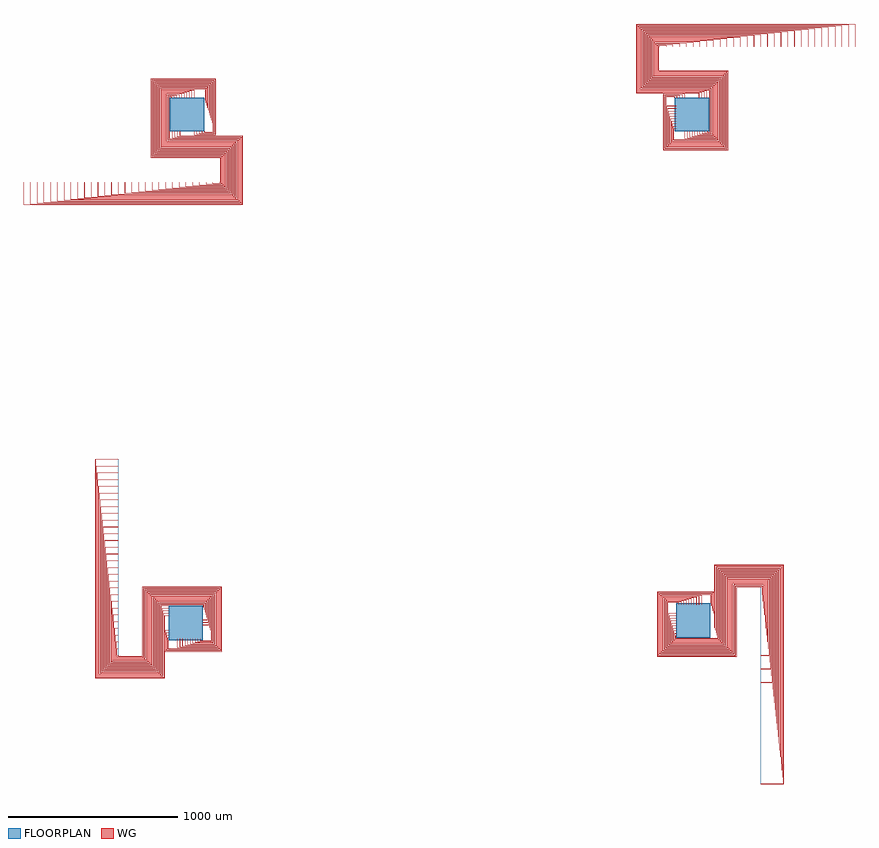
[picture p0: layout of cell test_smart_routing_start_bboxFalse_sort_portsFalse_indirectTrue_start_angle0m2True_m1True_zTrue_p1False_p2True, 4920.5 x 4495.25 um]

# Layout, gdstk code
import gdstk
lib = gdstk.Library(unit=1e-6, precision=1e-09)
def R(c, l, rs):  # rectangles x0, y0, x1, y1
    for r in rs: c.add(gdstk.rectangle(r[:2], r[2:], *l))
def P(c, l, *ps):  # polygons
    for p in ps: c.add(gdstk.Polygon(p, *l))
WG = (1, 0)
FLOORPLAN = (10, 0)

test_smart_routing_start = lib.new_cell('test_smart_routing_start_bboxFalse_sort_portsFalse_indirectTrue_start_angle0m2True_m1True_zTrue_p1False_p2True')
P(test_smart_routing_start, WG, [(2822.25,2787.5),(2822.25,3122.5),(2950.25,3122.5),(2950.25,3100),(2949.75,3100),(2949.75,3122),(2822.75,3122),(2822.75,2788),(3207.25,2788),(3207.25,3257),(2795.25,3257),(2795.25,3404.5),(2800.25,3404.5),(2800.25,3400),(2799.75,3400),(2799.75,3404),(2795.75,3404),(2795.75,3257.5),(3207.75,3257.5),(3207.75,2787.5)],
  [(2826.75,2792),(2826.75,3118),(2935.25,3118),(2935.25,3100),(2934.75,3100),(2934.75,3117.5),(2827.25,3117.5),(2827.25,2792.5),(3202.75,2792.5),(3202.75,3252.5),(2790.75,3252.5),(2790.75,3409),(2840.25,3409),(2840.25,3400),(2839.75,3400),(2839.75,3408.5),(2791.25,3408.5),(2791.25,3253),(3203.25,3253),(3203.25,2792)],
  [(2831.25,2796.5),(2831.25,3113.5),(2920.25,3113.5),(2920.25,3100),(2919.75,3100),(2919.75,3113),(2831.75,3113),(2831.75,2797),(3198.25,2797),(3198.25,3248),(2786.25,3248),(2786.25,3413.5),(2880.25,3413.5),(2880.25,3400),(2879.75,3400),(2879.75,3413),(2786.75,3413),(2786.75,3248.5),(3198.75,3248.5),(3198.75,2796.5)],
  [(2835.75,2801),(2835.75,3109),(2905.25,3109),(2905.25,3100),(2904.75,3100),(2904.75,3108.5),(2836.25,3108.5),(2836.25,2801.5),(3193.75,2801.5),(3193.75,3243.5),(2781.75,3243.5),(2781.75,3418),(2920.25,3418),(2920.25,3400),(2919.75,3400),(2919.75,3417.5),(2782.25,3417.5),(2782.25,3244),(3194.25,3244),(3194.25,2801)],
  [(2840.25,2805.5),(2840.25,3104.5),(2890.25,3104.5),(2890.25,3100),(2889.75,3100),(2889.75,3104),(2840.75,3104),(2840.75,2806),(3189.25,2806),(3189.25,3239),(2777.25,3239),(2777.25,3422.5),(2960.25,3422.5),(2960.25,3400),(2959.75,3400),(2959.75,3422),(2777.75,3422),(2777.75,3239.5),(3189.75,3239.5),(3189.75,2805.5)],
  [(2844.75,2810),(2844.75,3050.25),(2900,3050.25),(2900,3049.75),(2845.25,3049.75),(2845.25,2810.5),(3184.75,2810.5),(3184.75,3234.5),(2772.75,3234.5),(2772.75,3427),(3000.25,3427),(3000.25,3400),(2999.75,3400),(2999.75,3426.5),(2773.25,3426.5),(2773.25,3235),(3185.25,3235),(3185.25,2810)],
  [(2849.25,2814.5),(2849.25,3035.25),(2900,3035.25),(2900,3034.75),(2849.75,3034.75),(2849.75,2815),(3180.25,2815),(3180.25,3230),(2768.25,3230),(2768.25,3431.5),(3040.25,3431.5),(3040.25,3400),(3039.75,3400),(3039.75,3431),(2768.75,3431),(2768.75,3230.5),(3180.75,3230.5),(3180.75,2814.5)],
  [(2853.75,2819),(2853.75,3020.25),(2900,3020.25),(2900,3019.75),(2854.25,3019.75),(2854.25,2819.5),(3175.75,2819.5),(3175.75,3225.5),(2763.75,3225.5),(2763.75,3436),(3080.25,3436),(3080.25,3400),(3079.75,3400),(3079.75,3435.5),(2764.25,3435.5),(2764.25,3226),(3176.25,3226),(3176.25,2819)],
  [(2858.25,2823.5),(2858.25,3005.25),(2900,3005.25),(2900,3004.75),(2858.75,3004.75),(2858.75,2824),(3171.25,2824),(3171.25,3221),(2759.25,3221),(2759.25,3440.5),(3120.25,3440.5),(3120.25,3400),(3119.75,3400),(3119.75,3440),(2759.75,3440),(2759.75,3221.5),(3171.75,3221.5),(3171.75,2823.5)],
  [(2862.75,2828),(2862.75,2990.25),(2900,2990.25),(2900,2989.75),(2863.25,2989.75),(2863.25,2828.5),(3166.75,2828.5),(3166.75,3216.5),(2754.75,3216.5),(2754.75,3445),(3160.25,3445),(3160.25,3400),(3159.75,3400),(3159.75,3444.5),(2755.25,3444.5),(2755.25,3217),(3167.25,3217),(3167.25,2828)],
  [(2867.25,2832.5),(2867.25,2975.25),(2900,2975.25),(2900,2974.75),(2867.75,2974.75),(2867.75,2833),(3162.25,2833),(3162.25,3212),(2750.25,3212),(2750.25,3449.5),(3200.25,3449.5),(3200.25,3400),(3199.75,3400),(3199.75,3449),(2750.75,3449),(2750.75,3212.5),(3162.75,3212.5),(3162.75,2832.5)],
  [(2871.75,2837),(2871.75,2960.25),(2900,2960.25),(2900,2959.75),(2872.25,2959.75),(2872.25,2837.5),(3157.75,2837.5),(3157.75,3207.5),(2745.75,3207.5),(2745.75,3454),(3240.25,3454),(3240.25,3400),(3239.75,3400),(3239.75,3453.5),(2746.25,3453.5),(2746.25,3208),(3158.25,3208),(3158.25,2837)],
  [(2876.25,2841.5),(2876.25,2945.25),(2900,2945.25),(2900,2944.75),(2876.75,2944.75),(2876.75,2842),(3153.25,2842),(3153.25,3203),(2741.25,3203),(2741.25,3458.5),(3280.25,3458.5),(3280.25,3400),(3279.75,3400),(3279.75,3458),(2741.75,3458),(2741.75,3203.5),(3153.75,3203.5),(3153.75,2841.5)],
  [(2880.75,2846),(2880.75,2930.25),(2900,2930.25),(2900,2929.75),(2881.25,2929.75),(2881.25,2846.5),(3148.75,2846.5),(3148.75,3198.5),(2736.75,3198.5),(2736.75,3463),(3320.25,3463),(3320.25,3400),(3319.75,3400),(3319.75,3462.5),(2737.25,3462.5),(2737.25,3199),(3149.25,3199),(3149.25,2846)],
  [(2885.25,2850.5),(2885.25,2915.25),(2900,2915.25),(2900,2914.75),(2885.75,2914.75),(2885.75,2851),(3144.25,2851),(3144.25,3194),(2732.25,3194),(2732.25,3467.5),(3360.25,3467.5),(3360.25,3400),(3359.75,3400),(3359.75,3467),(2732.75,3467),(2732.75,3194.5),(3144.75,3194.5),(3144.75,2850.5)],
  [(2949.75,2855),(2949.75,2900),(2950.25,2900),(2950.25,2855.5),(3139.75,2855.5),(3139.75,3189.5),(2727.75,3189.5),(2727.75,3472),(3400.25,3472),(3400.25,3400),(3399.75,3400),(3399.75,3471.5),(2728.25,3471.5),(2728.25,3190),(3140.25,3190),(3140.25,2855)],
  [(2964.75,2859.5),(2964.75,2900),(2965.25,2900),(2965.25,2860),(3135.25,2860),(3135.25,3185),(2723.25,3185),(2723.25,3476.5),(3440.25,3476.5),(3440.25,3400),(3439.75,3400),(3439.75,3476),(2723.75,3476),(2723.75,3185.5),(3135.75,3185.5),(3135.75,2859.5)],
  [(2979.75,2864),(2979.75,2900),(2980.25,2900),(2980.25,2864.5),(3130.75,2864.5),(3130.75,3180.5),(2718.75,3180.5),(2718.75,3481),(3480.25,3481),(3480.25,3400),(3479.75,3400),(3479.75,3480.5),(2719.25,3480.5),(2719.25,3181),(3131.25,3181),(3131.25,2864)],
  [(2994.75,2868.5),(2994.75,2900),(2995.25,2900),(2995.25,2869),(3126.25,2869),(3126.25,3176),(2714.25,3176),(2714.25,3485.5),(3520.25,3485.5),(3520.25,3400),(3519.75,3400),(3519.75,3485),(2714.75,3485),(2714.75,3176.5),(3126.75,3176.5),(3126.75,2868.5)],
  [(3009.75,2873),(3009.75,2900),(3010.25,2900),(3010.25,2873.5),(3121.75,2873.5),(3121.75,3171.5),(2709.75,3171.5),(2709.75,3490),(3560.25,3490),(3560.25,3400),(3559.75,3400),(3559.75,3489.5),(2710.25,3489.5),(2710.25,3172),(3122.25,3172),(3122.25,2873)],
  [(3024.75,2877.5),(3024.75,2900),(3025.25,2900),(3025.25,2878),(3117.25,2878),(3117.25,3167),(2705.25,3167),(2705.25,3494.5),(3600.25,3494.5),(3600.25,3400),(3599.75,3400),(3599.75,3494),(2705.75,3494),(2705.75,3167.5),(3117.75,3167.5),(3117.75,2877.5)],
  [(3039.75,2882),(3039.75,2900),(3040.25,2900),(3040.25,2882.5),(3112.75,2882.5),(3112.75,3162.5),(2700.75,3162.5),(2700.75,3499),(3640.25,3499),(3640.25,3400),(3639.75,3400),(3639.75,3498.5),(2701.25,3498.5),(2701.25,3163),(3113.25,3163),(3113.25,2882)],
  [(3054.75,2886.5),(3054.75,2900),(3055.25,2900),(3055.25,2887),(3108.25,2887),(3108.25,3158),(2696.25,3158),(2696.25,3503.5),(3680.25,3503.5),(3680.25,3400),(3679.75,3400),(3679.75,3503),(2696.75,3503),(2696.75,3158.5),(3108.75,3158.5),(3108.75,2886.5)],
  [(3069.75,2891),(3069.75,2900),(3070.25,2900),(3070.25,2891.5),(3103.75,2891.5),(3103.75,3153.5),(2691.75,3153.5),(2691.75,3508),(3720.25,3508),(3720.25,3400),(3719.75,3400),(3719.75,3507.5),(2692.25,3507.5),(2692.25,3154),(3104.25,3154),(3104.25,2891)],
  [(3084.75,2895.5),(3084.75,2900),(3085.25,2900),(3085.25,2896),(3099.25,2896),(3099.25,3149),(2687.25,3149),(2687.25,3512.5),(3760.25,3512.5),(3760.25,3400),(3759.75,3400),(3759.75,3512),(2687.75,3512),(2687.75,3149.5),(3099.75,3149.5),(3099.75,2895.5)],
  [(3034.75,3100),(3034.75,3126.5),(2664.75,3126.5),(2664.75,3535),(3960.25,3535),(3960.25,3400),(3959.75,3400),(3959.75,3534.5),(2665.25,3534.5),(2665.25,3127),(3035.25,3127),(3035.25,3100)],
  [(3049.75,3100),(3049.75,3131),(2669.25,3131),(2669.25,3530.5),(3920.25,3530.5),(3920.25,3400),(3919.75,3400),(3919.75,3530),(2669.75,3530),(2669.75,3131.5),(3050.25,3131.5),(3050.25,3100)],
  [(3064.75,3100),(3064.75,3135.5),(2673.75,3135.5),(2673.75,3526),(3880.25,3526),(3880.25,3400),(3879.75,3400),(3879.75,3525.5),(2674.25,3525.5),(2674.25,3136),(3065.25,3136),(3065.25,3100)],
  [(3079.75,3100),(3079.75,3140),(2678.25,3140),(2678.25,3521.5),(3840.25,3521.5),(3840.25,3400),(3839.75,3400),(3839.75,3521),(2678.75,3521),(2678.75,3140.5),(3080.25,3140.5),(3080.25,3100)],
  [(3094.75,3100),(3094.75,3144.5),(2682.75,3144.5),(2682.75,3517),(3800.25,3517),(3800.25,3400),(3799.75,3400),(3799.75,3516.5),(2683.25,3516.5),(2683.25,3145),(3095.25,3145),(3095.25,3100)],
  [(199.75,2595.5),(199.75,2600),(200.25,2600),(200.25,2596),(204.25,2596),(204.25,2742.5),(-207.75,2742.5),(-207.75,3212.5),(177.75,3212.5),(177.75,2877.5),(49.75,2877.5),(49.75,2900),(50.25,2900),(50.25,2878),(177.25,2878),(177.25,3212),(-207.25,3212),(-207.25,2743),(204.75,2743),(204.75,2595.5)],
  [(159.75,2591),(159.75,2600),(160.25,2600),(160.25,2591.5),(208.75,2591.5),(208.75,2747),(-203.25,2747),(-203.25,3208),(173.25,3208),(173.25,2882),(64.75,2882),(64.75,2900),(65.25,2900),(65.25,2882.5),(172.75,2882.5),(172.75,3207.5),(-202.75,3207.5),(-202.75,2747.5),(209.25,2747.5),(209.25,2591)],
  [(119.75,2586.5),(119.75,2600),(120.25,2600),(120.25,2587),(213.25,2587),(213.25,2751.5),(-198.75,2751.5),(-198.75,3203.5),(168.75,3203.5),(168.75,2886.5),(79.75,2886.5),(79.75,2900),(80.25,2900),(80.25,2887),(168.25,2887),(168.25,3203),(-198.25,3203),(-198.25,2752),(213.75,2752),(213.75,2586.5)],
  [(79.75,2582),(79.75,2600),(80.25,2600),(80.25,2582.5),(217.75,2582.5),(217.75,2756),(-194.25,2756),(-194.25,3199),(164.25,3199),(164.25,2891),(94.75,2891),(94.75,2900),(95.25,2900),(95.25,2891.5),(163.75,2891.5),(163.75,3198.5),(-193.75,3198.5),(-193.75,2756.5),(218.25,2756.5),(218.25,2582)],
  [(39.75,2577.5),(39.75,2600),(40.25,2600),(40.25,2578),(222.25,2578),(222.25,2760.5),(-189.75,2760.5),(-189.75,3194.5),(159.75,3194.5),(159.75,2895.5),(109.75,2895.5),(109.75,2900),(110.25,2900),(110.25,2896),(159.25,2896),(159.25,3194),(-189.25,3194),(-189.25,2761),(222.75,2761),(222.75,2577.5)],
  [(-0.25,2573),(-0.25,2600),(0.25,2600),(0.25,2573.5),(226.75,2573.5),(226.75,2765),(-185.25,2765),(-185.25,3190),(155.25,3190),(155.25,2949.75),(100,2949.75),(100,2950.25),(154.75,2950.25),(154.75,3189.5),(-184.75,3189.5),(-184.75,2765.5),(227.25,2765.5),(227.25,2573)],
  [(-40.25,2568.5),(-40.25,2600),(-39.75,2600),(-39.75,2569),(231.25,2569),(231.25,2769.5),(-180.75,2769.5),(-180.75,3185.5),(150.75,3185.5),(150.75,2964.75),(100,2964.75),(100,2965.25),(150.25,2965.25),(150.25,3185),(-180.25,3185),(-180.25,2770),(231.75,2770),(231.75,2568.5)],
  [(-80.25,2564),(-80.25,2600),(-79.75,2600),(-79.75,2564.5),(235.75,2564.5),(235.75,2774),(-176.25,2774),(-176.25,3181),(146.25,3181),(146.25,2979.75),(100,2979.75),(100,2980.25),(145.75,2980.25),(145.75,3180.5),(-175.75,3180.5),(-175.75,2774.5),(236.25,2774.5),(236.25,2564)],
  [(-120.25,2559.5),(-120.25,2600),(-119.75,2600),(-119.75,2560),(240.25,2560),(240.25,2778.5),(-171.75,2778.5),(-171.75,3176.5),(141.75,3176.5),(141.75,2994.75),(100,2994.75),(100,2995.25),(141.25,2995.25),(141.25,3176),(-171.25,3176),(-171.25,2779),(240.75,2779),(240.75,2559.5)],
  [(-160.25,2555),(-160.25,2600),(-159.75,2600),(-159.75,2555.5),(244.75,2555.5),(244.75,2783),(-167.25,2783),(-167.25,3172),(137.25,3172),(137.25,3009.75),(100,3009.75),(100,3010.25),(136.75,3010.25),(136.75,3171.5),(-166.75,3171.5),(-166.75,2783.5),(245.25,2783.5),(245.25,2555)],
  [(-200.25,2550.5),(-200.25,2600),(-199.75,2600),(-199.75,2551),(249.25,2551),(249.25,2787.5),(-162.75,2787.5),(-162.75,3167.5),(132.75,3167.5),(132.75,3024.75),(100,3024.75),(100,3025.25),(132.25,3025.25),(132.25,3167),(-162.25,3167),(-162.25,2788),(249.75,2788),(249.75,2550.5)],
  [(-240.25,2546),(-240.25,2600),(-239.75,2600),(-239.75,2546.5),(253.75,2546.5),(253.75,2792),(-158.25,2792),(-158.25,3163),(128.25,3163),(128.25,3039.75),(100,3039.75),(100,3040.25),(127.75,3040.25),(127.75,3162.5),(-157.75,3162.5),(-157.75,2792.5),(254.25,2792.5),(254.25,2546)],
  [(-280.25,2541.5),(-280.25,2600),(-279.75,2600),(-279.75,2542),(258.25,2542),(258.25,2796.5),(-153.75,2796.5),(-153.75,3158.5),(123.75,3158.5),(123.75,3054.75),(100,3054.75),(100,3055.25),(123.25,3055.25),(123.25,3158),(-153.25,3158),(-153.25,2797),(258.75,2797),(258.75,2541.5)],
  [(-320.25,2537),(-320.25,2600),(-319.75,2600),(-319.75,2537.5),(262.75,2537.5),(262.75,2801),(-149.25,2801),(-149.25,3154),(119.25,3154),(119.25,3069.75),(100,3069.75),(100,3070.25),(118.75,3070.25),(118.75,3153.5),(-148.75,3153.5),(-148.75,2801.5),(263.25,2801.5),(263.25,2537)],
  [(-360.25,2532.5),(-360.25,2600),(-359.75,2600),(-359.75,2533),(267.25,2533),(267.25,2805.5),(-144.75,2805.5),(-144.75,3149.5),(114.75,3149.5),(114.75,3084.75),(100,3084.75),(100,3085.25),(114.25,3085.25),(114.25,3149),(-144.25,3149),(-144.25,2806),(267.75,2806),(267.75,2532.5)],
  [(-400.25,2528),(-400.25,2600),(-399.75,2600),(-399.75,2528.5),(271.75,2528.5),(271.75,2810),(-140.25,2810),(-140.25,3145),(50.25,3145),(50.25,3100),(49.75,3100),(49.75,3144.5),(-139.75,3144.5),(-139.75,2810.5),(272.25,2810.5),(272.25,2528)],
  [(-440.25,2523.5),(-440.25,2600),(-439.75,2600),(-439.75,2524),(276.25,2524),(276.25,2814.5),(-135.75,2814.5),(-135.75,3140.5),(35.25,3140.5),(35.25,3100),(34.75,3100),(34.75,3140),(-135.25,3140),(-135.25,2815),(276.75,2815),(276.75,2523.5)],
  [(-480.25,2519),(-480.25,2600),(-479.75,2600),(-479.75,2519.5),(280.75,2519.5),(280.75,2819),(-131.25,2819),(-131.25,3136),(20.25,3136),(20.25,3100),(19.75,3100),(19.75,3135.5),(-130.75,3135.5),(-130.75,2819.5),(281.25,2819.5),(281.25,2519)],
  [(-520.25,2514.5),(-520.25,2600),(-519.75,2600),(-519.75,2515),(285.25,2515),(285.25,2823.5),(-126.75,2823.5),(-126.75,3131.5),(5.25,3131.5),(5.25,3100),(4.75,3100),(4.75,3131),(-126.25,3131),(-126.25,2824),(285.75,2824),(285.75,2514.5)],
  [(-560.25,2510),(-560.25,2600),(-559.75,2600),(-559.75,2510.5),(289.75,2510.5),(289.75,2828),(-122.25,2828),(-122.25,3127),(-9.75,3127),(-9.75,3100),(-10.25,3100),(-10.25,3126.5),(-121.75,3126.5),(-121.75,2828.5),(290.25,2828.5),(290.25,2510)],
  [(-600.25,2505.5),(-600.25,2600),(-599.75,2600),(-599.75,2506),(294.25,2506),(294.25,2832.5),(-117.75,2832.5),(-117.75,3122.5),(-24.75,3122.5),(-24.75,3100),(-25.25,3100),(-25.25,3122),(-117.25,3122),(-117.25,2833),(294.75,2833),(294.75,2505.5)],
  [(-640.25,2501),(-640.25,2600),(-639.75,2600),(-639.75,2501.5),(298.75,2501.5),(298.75,2837),(-113.25,2837),(-113.25,3118),(-39.75,3118),(-39.75,3100),(-40.25,3100),(-40.25,3117.5),(-112.75,3117.5),(-112.75,2837.5),(299.25,2837.5),(299.25,2501)],
  [(-680.25,2496.5),(-680.25,2600),(-679.75,2600),(-679.75,2497),(303.25,2497),(303.25,2841.5),(-108.75,2841.5),(-108.75,3113.5),(-54.75,3113.5),(-54.75,3100),(-55.25,3100),(-55.25,3113),(-108.25,3113),(-108.25,2842),(303.75,2842),(303.75,2496.5)],
  [(-720.25,2492),(-720.25,2600),(-719.75,2600),(-719.75,2492.5),(307.75,2492.5),(307.75,2846),(-104.25,2846),(-104.25,3109),(-69.75,3109),(-69.75,3100),(-70.25,3100),(-70.25,3108.5),(-103.75,3108.5),(-103.75,2846.5),(308.25,2846.5),(308.25,2492)],
  [(-760.25,2487.5),(-760.25,2600),(-759.75,2600),(-759.75,2488),(312.25,2488),(312.25,2850.5),(-99.75,2850.5),(-99.75,3104.5),(-84.75,3104.5),(-84.75,3100),(-85.25,3100),(-85.25,3104),(-99.25,3104),(-99.25,2851),(312.75,2851),(312.75,2487.5)],
  [(-960.25,2465),(-960.25,2600),(-959.75,2600),(-959.75,2465.5),(334.75,2465.5),(334.75,2873),(-35.25,2873),(-35.25,2900),(-34.75,2900),(-34.75,2873.5),(335.25,2873.5),(335.25,2465)],
  [(-920.25,2469.5),(-920.25,2600),(-919.75,2600),(-919.75,2470),(330.25,2470),(330.25,2868.5),(-50.25,2868.5),(-50.25,2900),(-49.75,2900),(-49.75,2869),(330.75,2869),(330.75,2469.5)],
  [(-880.25,2474),(-880.25,2600),(-879.75,2600),(-879.75,2474.5),(325.75,2474.5),(325.75,2864),(-65.25,2864),(-65.25,2900),(-64.75,2900),(-64.75,2864.5),(326.25,2864.5),(326.25,2474)],
  [(-840.25,2478.5),(-840.25,2600),(-839.75,2600),(-839.75,2479),(321.25,2479),(321.25,2859.5),(-80.25,2859.5),(-80.25,2900),(-79.75,2900),(-79.75,2860),(321.75,2860),(321.75,2478.5)],
  [(-800.25,2483),(-800.25,2600),(-799.75,2600),(-799.75,2483.5),(316.75,2483.5),(316.75,2855),(-95.25,2855),(-95.25,2900),(-94.75,2900),(-94.75,2855.5),(317.25,2855.5),(317.25,2483)],
  [(-404.5,-204.75),(-404.5,-199.75),(-400,-199.75),(-400,-200.25),(-404,-200.25),(-404,-204.25),(-257.5,-204.25),(-257.5,207.75),(212.5,207.75),(212.5,-177.75),(-122.5,-177.75),(-122.5,-49.75),(-100,-49.75),(-100,-50.25),(-122,-50.25),(-122,-177.25),(212,-177.25),(212,207.25),(-257,207.25),(-257,-204.75)],
  [(-409,-209.25),(-409,-159.75),(-400,-159.75),(-400,-160.25),(-408.5,-160.25),(-408.5,-208.75),(-253,-208.75),(-253,203.25),(208,203.25),(208,-173.25),(-118,-173.25),(-118,-64.75),(-100,-64.75),(-100,-65.25),(-117.5,-65.25),(-117.5,-172.75),(207.5,-172.75),(207.5,202.75),(-252.5,202.75),(-252.5,-209.25)],
  [(-413.5,-213.75),(-413.5,-119.75),(-400,-119.75),(-400,-120.25),(-413,-120.25),(-413,-213.25),(-248.5,-213.25),(-248.5,198.75),(203.5,198.75),(203.5,-168.75),(-113.5,-168.75),(-113.5,-79.75),(-100,-79.75),(-100,-80.25),(-113,-80.25),(-113,-168.25),(203,-168.25),(203,198.25),(-248,198.25),(-248,-213.75)],
  [(-418,-218.25),(-418,-79.75),(-400,-79.75),(-400,-80.25),(-417.5,-80.25),(-417.5,-217.75),(-244,-217.75),(-244,194.25),(199,194.25),(199,-164.25),(-109,-164.25),(-109,-94.75),(-100,-94.75),(-100,-95.25),(-108.5,-95.25),(-108.5,-163.75),(198.5,-163.75),(198.5,193.75),(-243.5,193.75),(-243.5,-218.25)],
  [(-422.5,-222.75),(-422.5,-39.75),(-400,-39.75),(-400,-40.25),(-422,-40.25),(-422,-222.25),(-239.5,-222.25),(-239.5,189.75),(194.5,189.75),(194.5,-159.75),(-104.5,-159.75),(-104.5,-109.75),(-100,-109.75),(-100,-110.25),(-104,-110.25),(-104,-159.25),(194,-159.25),(194,189.25),(-239,189.25),(-239,-222.75)],
  [(-427,-227.25),(-427,0.25),(-400,0.25),(-400,-0.25),(-426.5,-0.25),(-426.5,-226.75),(-235,-226.75),(-235,185.25),(190,185.25),(190,-155.25),(-50.25,-155.25),(-50.25,-100),(-49.75,-100),(-49.75,-154.75),(189.5,-154.75),(189.5,184.75),(-234.5,184.75),(-234.5,-227.25)],
  [(-431.5,-231.75),(-431.5,40.25),(-400,40.25),(-400,39.75),(-431,39.75),(-431,-231.25),(-230.5,-231.25),(-230.5,180.75),(185.5,180.75),(185.5,-150.75),(-35.25,-150.75),(-35.25,-100),(-34.75,-100),(-34.75,-150.25),(185,-150.25),(185,180.25),(-230,180.25),(-230,-231.75)],
  [(-436,-236.25),(-436,80.25),(-400,80.25),(-400,79.75),(-435.5,79.75),(-435.5,-235.75),(-226,-235.75),(-226,176.25),(181,176.25),(181,-146.25),(-20.25,-146.25),(-20.25,-100),(-19.75,-100),(-19.75,-145.75),(180.5,-145.75),(180.5,175.75),(-225.5,175.75),(-225.5,-236.25)],
  [(-440.5,-240.75),(-440.5,120.25),(-400,120.25),(-400,119.75),(-440,119.75),(-440,-240.25),(-221.5,-240.25),(-221.5,171.75),(176.5,171.75),(176.5,-141.75),(-5.25,-141.75),(-5.25,-100),(-4.75,-100),(-4.75,-141.25),(176,-141.25),(176,171.25),(-221,171.25),(-221,-240.75)],
  [(-445,-245.25),(-445,160.25),(-400,160.25),(-400,159.75),(-444.5,159.75),(-444.5,-244.75),(-217,-244.75),(-217,167.25),(172,167.25),(172,-137.25),(9.75,-137.25),(9.75,-100),(10.25,-100),(10.25,-136.75),(171.5,-136.75),(171.5,166.75),(-216.5,166.75),(-216.5,-245.25)],
  [(-449.5,-249.75),(-449.5,200.25),(-400,200.25),(-400,199.75),(-449,199.75),(-449,-249.25),(-212.5,-249.25),(-212.5,162.75),(167.5,162.75),(167.5,-132.75),(24.75,-132.75),(24.75,-100),(25.25,-100),(25.25,-132.25),(167,-132.25),(167,162.25),(-212,162.25),(-212,-249.75)],
  [(-454,-254.25),(-454,240.25),(-400,240.25),(-400,239.75),(-453.5,239.75),(-453.5,-253.75),(-208,-253.75),(-208,158.25),(163,158.25),(163,-128.25),(39.75,-128.25),(39.75,-100),(40.25,-100),(40.25,-127.75),(162.5,-127.75),(162.5,157.75),(-207.5,157.75),(-207.5,-254.25)],
  [(-458.5,-258.75),(-458.5,280.25),(-400,280.25),(-400,279.75),(-458,279.75),(-458,-258.25),(-203.5,-258.25),(-203.5,153.75),(158.5,153.75),(158.5,-123.75),(54.75,-123.75),(54.75,-100),(55.25,-100),(55.25,-123.25),(158,-123.25),(158,153.25),(-203,153.25),(-203,-258.75)],
  [(-463,-263.25),(-463,320.25),(-400,320.25),(-400,319.75),(-462.5,319.75),(-462.5,-262.75),(-199,-262.75),(-199,149.25),(154,149.25),(154,-119.25),(69.75,-119.25),(69.75,-100),(70.25,-100),(70.25,-118.75),(153.5,-118.75),(153.5,148.75),(-198.5,148.75),(-198.5,-263.25)],
  [(-467.5,-267.75),(-467.5,360.25),(-400,360.25),(-400,359.75),(-467,359.75),(-467,-267.25),(-194.5,-267.25),(-194.5,144.75),(149.5,144.75),(149.5,-114.75),(84.75,-114.75),(84.75,-100),(85.25,-100),(85.25,-114.25),(149,-114.25),(149,144.25),(-194,144.25),(-194,-267.75)],
  [(-472,-272.25),(-472,400.25),(-400,400.25),(-400,399.75),(-471.5,399.75),(-471.5,-271.75),(-190,-271.75),(-190,140.25),(145,140.25),(145,-50.25),(100,-50.25),(100,-49.75),(144.5,-49.75),(144.5,139.75),(-189.5,139.75),(-189.5,-272.25)],
  [(-476.5,-276.75),(-476.5,440.25),(-400,440.25),(-400,439.75),(-476,439.75),(-476,-276.25),(-185.5,-276.25),(-185.5,135.75),(140.5,135.75),(140.5,-35.25),(100,-35.25),(100,-34.75),(140,-34.75),(140,135.25),(-185,135.25),(-185,-276.75)],
  [(-481,-281.25),(-481,480.25),(-400,480.25),(-400,479.75),(-480.5,479.75),(-480.5,-280.75),(-181,-280.75),(-181,131.25),(136,131.25),(136,-20.25),(100,-20.25),(100,-19.75),(135.5,-19.75),(135.5,130.75),(-180.5,130.75),(-180.5,-281.25)],
  [(-485.5,-285.75),(-485.5,520.25),(-400,520.25),(-400,519.75),(-485,519.75),(-485,-285.25),(-176.5,-285.25),(-176.5,126.75),(131.5,126.75),(131.5,-5.25),(100,-5.25),(100,-4.75),(131,-4.75),(131,126.25),(-176,126.25),(-176,-285.75)],
  [(-490,-290.25),(-490,560.25),(-400,560.25),(-400,559.75),(-489.5,559.75),(-489.5,-289.75),(-172,-289.75),(-172,122.25),(127,122.25),(127,9.75),(100,9.75),(100,10.25),(126.5,10.25),(126.5,121.75),(-171.5,121.75),(-171.5,-290.25)],
  [(-494.5,-294.75),(-494.5,600.25),(-400,600.25),(-400,599.75),(-494,599.75),(-494,-294.25),(-167.5,-294.25),(-167.5,117.75),(122.5,117.75),(122.5,24.75),(100,24.75),(100,25.25),(122,25.25),(122,117.25),(-167,117.25),(-167,-294.75)],
  [(-499,-299.25),(-499,640.25),(-400,640.25),(-400,639.75),(-498.5,639.75),(-498.5,-298.75),(-163,-298.75),(-163,113.25),(118,113.25),(118,39.75),(100,39.75),(100,40.25),(117.5,40.25),(117.5,112.75),(-162.5,112.75),(-162.5,-299.25)],
  [(-503.5,-303.75),(-503.5,680.25),(-400,680.25),(-400,679.75),(-503,679.75),(-503,-303.25),(-158.5,-303.25),(-158.5,108.75),(113.5,108.75),(113.5,54.75),(100,54.75),(100,55.25),(113,55.25),(113,108.25),(-158,108.25),(-158,-303.75)],
  [(-508,-308.25),(-508,720.25),(-400,720.25),(-400,719.75),(-507.5,719.75),(-507.5,-307.75),(-154,-307.75),(-154,104.25),(109,104.25),(109,69.75),(100,69.75),(100,70.25),(108.5,70.25),(108.5,103.75),(-153.5,103.75),(-153.5,-308.25)],
  [(-512.5,-312.75),(-512.5,760.25),(-400,760.25),(-400,759.75),(-512,759.75),(-512,-312.25),(-149.5,-312.25),(-149.5,99.75),(104.5,99.75),(104.5,84.75),(100,84.75),(100,85.25),(104,85.25),(104,99.25),(-149,99.25),(-149,-312.75)],
  [(-535,-335.25),(-535,960.25),(-400,960.25),(-400,959.75),(-534.5,959.75),(-534.5,-334.75),(-127,-334.75),(-127,35.25),(-100,35.25),(-100,34.75),(-126.5,34.75),(-126.5,-335.25)],
  [(-530.5,-330.75),(-530.5,920.25),(-400,920.25),(-400,919.75),(-530,919.75),(-530,-330.25),(-131.5,-330.25),(-131.5,50.25),(-100,50.25),(-100,49.75),(-131,49.75),(-131,-330.75)],
  [(-526,-326.25),(-526,880.25),(-400,880.25),(-400,879.75),(-525.5,879.75),(-525.5,-325.75),(-136,-325.75),(-136,65.25),(-100,65.25),(-100,64.75),(-135.5,64.75),(-135.5,-326.25)],
  [(-521.5,-321.75),(-521.5,840.25),(-400,840.25),(-400,839.75),(-521,839.75),(-521,-321.25),(-140.5,-321.25),(-140.5,80.25),(-100,80.25),(-100,79.75),(-140,79.75),(-140,-321.75)],
  [(-517,-317.25),(-517,800.25),(-400,800.25),(-400,799.75),(-516.5,799.75),(-516.5,-316.75),(-145,-316.75),(-145,95.25),(-100,95.25),(-100,94.75),(-144.5,94.75),(-144.5,-317.25)],
  [(2787.5,-207.75),(2787.5,177.75),(3122.5,177.75),(3122.5,49.75),(3100,49.75),(3100,50.25),(3122,50.25),(3122,177.25),(2788,177.25),(2788,-207.25),(3257,-207.25),(3257,204.75),(3404.5,204.75),(3404.5,199.75),(3400,199.75),(3400,200.25),(3404,200.25),(3404,204.25),(3257.5,204.25),(3257.5,-207.75)],
  [(2792,-203.25),(2792,173.25),(3118,173.25),(3118,64.75),(3100,64.75),(3100,65.25),(3117.5,65.25),(3117.5,172.75),(2792.5,172.75),(2792.5,-202.75),(3252.5,-202.75),(3252.5,209.25),(3409,209.25),(3409,159.75),(3400,159.75),(3400,160.25),(3408.5,160.25),(3408.5,208.75),(3253,208.75),(3253,-203.25)],
  [(2796.5,-198.75),(2796.5,168.75),(3113.5,168.75),(3113.5,79.75),(3100,79.75),(3100,80.25),(3113,80.25),(3113,168.25),(2797,168.25),(2797,-198.25),(3248,-198.25),(3248,213.75),(3413.5,213.75),(3413.5,119.75),(3400,119.75),(3400,120.25),(3413,120.25),(3413,213.25),(3248.5,213.25),(3248.5,-198.75)],
  [(2801,-194.25),(2801,164.25),(3109,164.25),(3109,94.75),(3100,94.75),(3100,95.25),(3108.5,95.25),(3108.5,163.75),(2801.5,163.75),(2801.5,-193.75),(3243.5,-193.75),(3243.5,218.25),(3418,218.25),(3418,79.75),(3400,79.75),(3400,80.25),(3417.5,80.25),(3417.5,217.75),(3244,217.75),(3244,-194.25)],
  [(2805.5,-189.75),(2805.5,159.75),(3104.5,159.75),(3104.5,109.75),(3100,109.75),(3100,110.25),(3104,110.25),(3104,159.25),(2806,159.25),(2806,-189.25),(3239,-189.25),(3239,222.75),(3422.5,222.75),(3422.5,39.75),(3400,39.75),(3400,40.25),(3422,40.25),(3422,222.25),(3239.5,222.25),(3239.5,-189.75)],
  [(2810,-185.25),(2810,155.25),(3050.25,155.25),(3050.25,100),(3049.75,100),(3049.75,154.75),(2810.5,154.75),(2810.5,-184.75),(3234.5,-184.75),(3234.5,227.25),(3427,227.25),(3427,-0.25),(3400,-0.25),(3400,0.25),(3426.5,0.25),(3426.5,226.75),(3235,226.75),(3235,-185.25)],
  [(2814.5,-180.75),(2814.5,150.75),(3035.25,150.75),(3035.25,100),(3034.75,100),(3034.75,150.25),(2815,150.25),(2815,-180.25),(3230,-180.25),(3230,231.75),(3431.5,231.75),(3431.5,-40.25),(3400,-40.25),(3400,-39.75),(3431,-39.75),(3431,231.25),(3230.5,231.25),(3230.5,-180.75)],
  [(2819,-176.25),(2819,146.25),(3020.25,146.25),(3020.25,100),(3019.75,100),(3019.75,145.75),(2819.5,145.75),(2819.5,-175.75),(3225.5,-175.75),(3225.5,236.25),(3436,236.25),(3436,-80.25),(3400,-80.25),(3400,-79.75),(3435.5,-79.75),(3435.5,235.75),(3226,235.75),(3226,-176.25)],
  [(2823.5,-171.75),(2823.5,141.75),(3005.25,141.75),(3005.25,100),(3004.75,100),(3004.75,141.25),(2824,141.25),(2824,-171.25),(3221,-171.25),(3221,240.75),(3440.5,240.75),(3440.5,-120.25),(3400,-120.25),(3400,-119.75),(3440,-119.75),(3440,240.25),(3221.5,240.25),(3221.5,-171.75)],
  [(2828,-167.25),(2828,137.25),(2990.25,137.25),(2990.25,100),(2989.75,100),(2989.75,136.75),(2828.5,136.75),(2828.5,-166.75),(3216.5,-166.75),(3216.5,245.25),(3445,245.25),(3445,-160.25),(3400,-160.25),(3400,-159.75),(3444.5,-159.75),(3444.5,244.75),(3217,244.75),(3217,-167.25)],
  [(3400,-200.25),(3400,-199.75),(3449,-199.75),(3449,249.25),(3212.5,249.25),(3212.5,-162.75),(2832.5,-162.75),(2832.5,132.75),(2975.25,132.75),(2975.25,100),(2974.75,100),(2974.75,132.25),(2833,132.25),(2833,-162.25),(3212,-162.25),(3212,249.75),(3449.5,249.75),(3449.5,-200.25)],
  [(3400,-240.25),(3400,-239.75),(3453.5,-239.75),(3453.5,253.75),(3208,253.75),(3208,-158.25),(2837,-158.25),(2837,128.25),(2960.25,128.25),(2960.25,100),(2959.75,100),(2959.75,127.75),(2837.5,127.75),(2837.5,-157.75),(3207.5,-157.75),(3207.5,254.25),(3454,254.25),(3454,-240.25)],
  [(3400,-280.25),(3400,-279.75),(3458,-279.75),(3458,258.25),(3203.5,258.25),(3203.5,-153.75),(2841.5,-153.75),(2841.5,123.75),(2945.25,123.75),(2945.25,100),(2944.75,100),(2944.75,123.25),(2842,123.25),(2842,-153.25),(3203,-153.25),(3203,258.75),(3458.5,258.75),(3458.5,-280.25)],
  [(3400,-320.25),(3400,-319.75),(3462.5,-319.75),(3462.5,262.75),(3199,262.75),(3199,-149.25),(2846,-149.25),(2846,119.25),(2930.25,119.25),(2930.25,100),(2929.75,100),(2929.75,118.75),(2846.5,118.75),(2846.5,-148.75),(3198.5,-148.75),(3198.5,263.25),(3463,263.25),(3463,-320.25)],
  [(3400,-360.25),(3400,-359.75),(3467,-359.75),(3467,267.25),(3194.5,267.25),(3194.5,-144.75),(2850.5,-144.75),(2850.5,114.75),(2915.25,114.75),(2915.25,100),(2914.75,100),(2914.75,114.25),(2851,114.25),(2851,-144.25),(3194,-144.25),(3194,267.75),(3467.5,267.75),(3467.5,-360.25)],
  [(3400,-400.25),(3400,-399.75),(3471.5,-399.75),(3471.5,271.75),(3190,271.75),(3190,-140.25),(2855,-140.25),(2855,50.25),(2900,50.25),(2900,49.75),(2855.5,49.75),(2855.5,-139.75),(3189.5,-139.75),(3189.5,272.25),(3472,272.25),(3472,-400.25)],
  [(3400,-440.25),(3400,-439.75),(3476,-439.75),(3476,276.25),(3185.5,276.25),(3185.5,-135.75),(2859.5,-135.75),(2859.5,35.25),(2900,35.25),(2900,34.75),(2860,34.75),(2860,-135.25),(3185,-135.25),(3185,276.75),(3476.5,276.75),(3476.5,-440.25)],
  [(3400,-480.25),(3400,-479.75),(3480.5,-479.75),(3480.5,280.75),(3181,280.75),(3181,-131.25),(2864,-131.25),(2864,20.25),(2900,20.25),(2900,19.75),(2864.5,19.75),(2864.5,-130.75),(3180.5,-130.75),(3180.5,281.25),(3481,281.25),(3481,-480.25)],
  [(3400,-520.25),(3400,-519.75),(3485,-519.75),(3485,285.25),(3176.5,285.25),(3176.5,-126.75),(2868.5,-126.75),(2868.5,5.25),(2900,5.25),(2900,4.75),(2869,4.75),(2869,-126.25),(3176,-126.25),(3176,285.75),(3485.5,285.75),(3485.5,-520.25)],
  [(3400,-560.25),(3400,-559.75),(3489.5,-559.75),(3489.5,289.75),(3172,289.75),(3172,-122.25),(2873,-122.25),(2873,-9.75),(2900,-9.75),(2900,-10.25),(2873.5,-10.25),(2873.5,-121.75),(3171.5,-121.75),(3171.5,290.25),(3490,290.25),(3490,-560.25)],
  [(3400,-600.25),(3400,-599.75),(3494,-599.75),(3494,294.25),(3167.5,294.25),(3167.5,-117.75),(2877.5,-117.75),(2877.5,-24.75),(2900,-24.75),(2900,-25.25),(2878,-25.25),(2878,-117.25),(3167,-117.25),(3167,294.75),(3494.5,294.75),(3494.5,-600.25)],
  [(3400,-640.25),(3400,-639.75),(3498.5,-639.75),(3498.5,298.75),(3163,298.75),(3163,-113.25),(2882,-113.25),(2882,-39.75),(2900,-39.75),(2900,-40.25),(2882.5,-40.25),(2882.5,-112.75),(3162.5,-112.75),(3162.5,299.25),(3499,299.25),(3499,-640.25)],
  [(3400,-680.25),(3400,-679.75),(3503,-679.75),(3503,303.25),(3158.5,303.25),(3158.5,-108.75),(2886.5,-108.75),(2886.5,-54.75),(2900,-54.75),(2900,-55.25),(2887,-55.25),(2887,-108.25),(3158,-108.25),(3158,303.75),(3503.5,303.75),(3503.5,-680.25)],
  [(3400,-720.25),(3400,-719.75),(3507.5,-719.75),(3507.5,307.75),(3154,307.75),(3154,-104.25),(2891,-104.25),(2891,-69.75),(2900,-69.75),(2900,-70.25),(2891.5,-70.25),(2891.5,-103.75),(3153.5,-103.75),(3153.5,308.25),(3508,308.25),(3508,-720.25)],
  [(3400,-760.25),(3400,-759.75),(3512,-759.75),(3512,312.25),(3149.5,312.25),(3149.5,-99.75),(2895.5,-99.75),(2895.5,-84.75),(2900,-84.75),(2900,-85.25),(2896,-85.25),(2896,-99.25),(3149,-99.25),(3149,312.75),(3512.5,312.75),(3512.5,-760.25)],
  [(3400,-960.25),(3400,-959.75),(3534.5,-959.75),(3534.5,334.75),(3127,334.75),(3127,-35.25),(3100,-35.25),(3100,-34.75),(3126.5,-34.75),(3126.5,335.25),(3535,335.25),(3535,-960.25)],
  [(3400,-920.25),(3400,-919.75),(3530,-919.75),(3530,330.25),(3131.5,330.25),(3131.5,-50.25),(3100,-50.25),(3100,-49.75),(3131,-49.75),(3131,330.75),(3530.5,330.75),(3530.5,-920.25)],
  [(3400,-880.25),(3400,-879.75),(3525.5,-879.75),(3525.5,325.75),(3136,325.75),(3136,-65.25),(3100,-65.25),(3100,-64.75),(3135.5,-64.75),(3135.5,326.25),(3526,326.25),(3526,-880.25)],
  [(3400,-840.25),(3400,-839.75),(3521,-839.75),(3521,321.25),(3140.5,321.25),(3140.5,-80.25),(3100,-80.25),(3100,-79.75),(3140,-79.75),(3140,321.75),(3521.5,321.75),(3521.5,-840.25)],
  [(3400,-800.25),(3400,-799.75),(3516.5,-799.75),(3516.5,316.75),(3145,316.75),(3145,-95.25),(3100,-95.25),(3100,-94.75),(3144.5,-94.75),(3144.5,317.25),(3517,317.25),(3517,-800.25)])
R(test_smart_routing_start, FLOORPLAN, [(-100,-110,100,95), (2900,-95,3100,110), (-95,2900,110,3100), (2890,2900,3095,3100)])
P(test_smart_routing_start, FLOORPLAN, [(-400,-200),(-400,960),(-400,960),(-400,-200)],
  [(-960,2600),(-960,2600),(200,2600),(200,2600)],
  [(3400,-960),(3400,200),(3400,200),(3400,-960)],
  [(2800,3400),(2800,3400),(3960,3400),(3960,3400)])

lib.write_gds('test_smart_routing_start_bboxFalse_sort_portsFalse_indirectTrue_start_angle0m2True_m1True_zTrue_p1False_p2True.gds')
